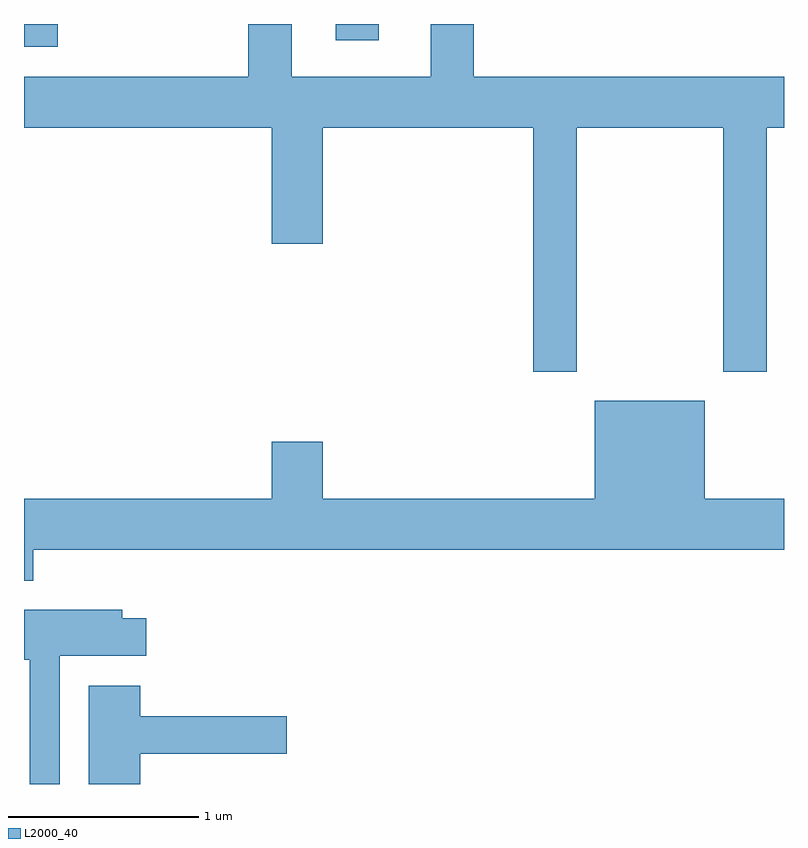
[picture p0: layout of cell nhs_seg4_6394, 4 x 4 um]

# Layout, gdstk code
import gdstk
lib = gdstk.Library(unit=1e-6, precision=1e-09)
def R(c, l, rs):  # rectangles x0, y0, x1, y1
    for r in rs: c.add(gdstk.rectangle(r[:2], r[2:], *l))
def P(c, l, *ps):  # polygons
    for p in ps: c.add(gdstk.Polygon(p, *l))
L2000_40 = (2000, 40)

nhs_seg4_6394 = lib.new_cell('nhs_seg4_6394')
R(nhs_seg4_6394, L2000_40, [(373.611,1261.861,373.788,1261.982), (375.251,1261.896,375.479,1261.982)])
P(nhs_seg4_6394, L2000_40, [(376.519,1261.436),(377.291,1261.436),(377.291,1260.151),(377.519,1260.151),(377.519,1261.436),(377.611,1261.436),(377.611,1261.704),(375.979,1261.704),(375.979,1261.982),(375.751,1261.982),(375.751,1261.704),(375.019,1261.704),(375.019,1261.982),(374.791,1261.982),(374.791,1261.704),(373.611,1261.704),(373.611,1261.436),(374.916,1261.436),(374.916,1260.826),(375.184,1260.826),(375.184,1261.436),(376.291,1261.436),(376.291,1260.151),(376.519,1260.151)],
  [(373.659,1259.216),(377.611,1259.216),(377.611,1259.484),(377.194,1259.484),(377.194,1259.999),(376.616,1259.999),(376.616,1259.484),(375.184,1259.484),(375.184,1259.784),(374.916,1259.784),(374.916,1259.484),(373.611,1259.484),(373.611,1259.051),(373.659,1259.051)],
  [(373.799,1258.656),(374.254,1258.656),(374.254,1258.854),(374.129,1258.854),(374.129,1258.899),(373.611,1258.899),(373.611,1258.636),(373.641,1258.636),(373.641,1257.982),(373.799,1257.982)],
  [(374.224,1258.141),(374.994,1258.141),(374.994,1258.339),(374.224,1258.339),(374.224,1258.499),(373.951,1258.499),(373.951,1257.982),(374.224,1257.982)])

lib.write_gds('nhs_seg4_6394.gds')
